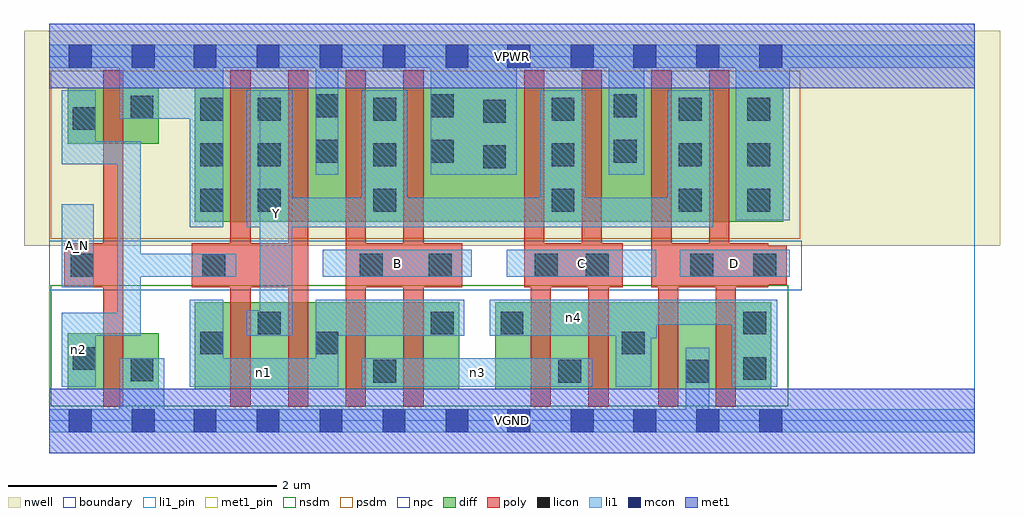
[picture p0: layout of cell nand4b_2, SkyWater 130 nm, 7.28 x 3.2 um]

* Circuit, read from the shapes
.subckt nand4b_2 A_N B C D VGND VPWR Y n1 n2 n3 n4
XM1 VGND A_N n2 VSUBS sky130_fd_pr__nfet_01v8 w=0.42 l=0.15
XM2 Y n2 n1 VSUBS sky130_fd_pr__nfet_01v8 w=0.65 l=0.15 m=2
XM3 n3 B n1 VSUBS sky130_fd_pr__nfet_01v8 w=0.65 l=0.15 m=2
XM4 n3 C n4 VSUBS sky130_fd_pr__nfet_01v8 w=0.65 l=0.15 m=2
XM5 VGND D n4 VSUBS sky130_fd_pr__nfet_01v8 w=0.65 l=0.15 m=2
XM6 VPWR A_N n2 n5 sky130_fd_pr__pfet_01v8 w=0.42 l=0.15
XM7 Y n2 VPWR n5 sky130_fd_pr__pfet_01v8 w=1 l=0.15 m=2
XM8 Y B VPWR n5 sky130_fd_pr__pfet_01v8 w=1 l=0.15 m=2
XM9 Y C VPWR n5 sky130_fd_pr__pfet_01v8 w=1 l=0.15 m=2
XM10 Y D VPWR n5 sky130_fd_pr__pfet_01v8 w=1 l=0.15 m=2
.ends

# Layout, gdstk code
import gdstk
lib = gdstk.Library(unit=1e-6, precision=1e-09)
def R(c, l, rs):  # rectangles x0, y0, x1, y1
    for r in rs: c.add(gdstk.rectangle(r[:2], r[2:], *l))
def A(c, l, x, y, w, h, nx, ny, dx, dy):  # array of equal rectangles
    R(c, l, [(x+i*dx, y+j*dy, x+i*dx+w, y+j*dy+h) for i in range(nx) for j in range(ny)])
nwell = (64, 20)
diff = (65, 20)
poly = (66, 20)
licon = (66, 44)
li1_pin = (67, 16)
li1 = (67, 20)
mcon = (67, 44)
met1_pin = (68, 16)
met1 = (68, 20)
nsdm = (93, 44)
psdm = (94, 20)
npc = (95, 20)
boundary = (235, 4)

nand4b_2 = lib.new_cell('nand4b_2')
R(nand4b_2, nwell, [(-0.19,1.305,7.09,2.91), (0,1.305,6.9,2.91)])
R(nand4b_2, diff, [(0.135,0.235,0.815,0.655), (1.085,0.235,3.055,0.885), (3.325,0.235,5.385,0.885), (1.085,1.485,5.475,2.485), (0.135,2.065,0.815,2.485)])
A(nand4b_2, poly, 1.35, 0.105, 0.15, 2.51, 4, 1, 0.43, 0)
R(nand4b_2, poly, [(0.4,0.105,0.55,2.615), (3.59,0.105,3.74,1.325), (4.02,0.105,4.17,1.325), (4.54,0.105,4.69,1.325), (4.97,0.105,5.12,1.325), (0.11,0.995,0.55,1.325), (1.06,0.995,1.93,1.325), (2.21,0.995,3.08,1.325), (3.54,0.995,3.69,2.615), (3.54,0.995,4.275,1.325), (3.97,0.995,4.12,2.615), (4.49,0.995,5.36,1.325), (4.49,0.995,4.64,2.615), (4.92,0.995,5.07,2.615), (4.49,1.015,5.5,1.305)])
A(nand4b_2, licon, 1.125, 1.56, 0.17, 0.17, 1, 3, 0, 0.34)
A(nand4b_2, licon, 1.555, 1.56, 0.17, 0.17, 1, 3, 0, 0.34)
A(nand4b_2, licon, 2.415, 1.56, 0.17, 0.17, 1, 3, 0, 0.34)
A(nand4b_2, licon, 3.745, 1.56, 0.17, 0.17, 1, 3, 0, 0.34)
A(nand4b_2, licon, 4.695, 1.56, 0.17, 0.17, 1, 3, 0, 0.34)
A(nand4b_2, licon, 5.205, 1.56, 0.17, 0.17, 1, 3, 0, 0.34)
R(nand4b_2, licon, [(2.415,0.285,2.585,0.455), (3.795,0.285,3.965,0.455), (4.745,0.285,4.915,0.455), (0.605,0.295,0.775,0.465), (5.175,0.305,5.345,0.475), (0.175,0.38,0.345,0.55), (1.125,0.495,1.295,0.665), (1.985,0.495,2.155,0.665), (4.27,0.495,4.44,0.665), (1.555,0.645,1.725,0.815), (2.845,0.645,3.015,0.815), (3.365,0.645,3.535,0.815), (5.175,0.645,5.345,0.815), (0.16,1.075,0.33,1.245), (1.14,1.075,1.31,1.245), (2.315,1.075,2.485,1.245), (2.83,1.075,3,1.245), (3.62,1.075,3.79,1.245), (4,1.075,4.17,1.245), (4.78,1.075,4.95,1.245), (5.25,1.075,5.42,1.245), (3.235,1.885,3.405,2.055), (1.985,1.925,2.155,2.095), (2.845,1.925,3.015,2.095), (4.21,1.925,4.38,2.095), (0.175,2.17,0.345,2.34), (3.235,2.225,3.405,2.395), (0.605,2.255,0.775,2.425), (1.985,2.265,2.155,2.435), (2.845,2.265,3.015,2.435), (4.21,2.265,4.38,2.435)])
R(nand4b_2, li1_pin, [(1.57,0.635,1.81,2.465), (0.09,0.995,0.33,1.615), (2.04,1.075,3.15,1.275), (3.41,1.075,4.525,1.275), (4.7,1.075,5.52,1.275)])
R(nand4b_2, li1, [(0,-0.085,6.9,0.085), (0.52,-0.085,0.855,0.465), (4.745,-0.085,4.92,0.545), (0.09,0.255,0.345,0.805), (1.045,0.255,2.155,0.465), (1.045,0.255,1.295,0.905), (1.985,0.255,2.155,0.905), (2.33,0.255,4.05,0.465), (4.225,0.255,4.49,0.905), (5.09,0.255,5.43,0.905), (4.225,0.615,4.53,0.905), (0.09,0.635,0.68,0.805), (0.505,0.635,0.68,2.085), (1.47,0.635,1.81,0.825), (1.57,0.635,1.81,2.465), (1.985,0.635,3.095,0.905), (3.285,0.635,4.53,0.905), (3.285,0.715,5.43,0.905), (0.09,0.995,0.33,1.615), (0.505,1.075,1.395,1.245), (2.04,1.075,3.15,1.275), (3.41,1.075,4.525,1.275), (4.7,1.075,5.52,1.275), (1.045,1.445,1.295,2.805), (1.47,1.445,4.95,1.665), (1.47,1.445,1.81,2.465), (2.33,1.445,2.67,2.465), (3.66,1.445,4,2.465), (4.61,1.445,4.95,2.465), (5.12,1.495,5.52,2.805), (1.985,1.835,2.155,2.805), (2.845,1.835,3.485,2.805), (4.17,1.835,4.435,2.805), (0.09,1.915,0.345,2.465), (0.09,1.915,0.68,2.085), (0.52,2.255,1.295,2.805), (0,2.635,6.9,2.805)])
A(nand4b_2, mcon, 1.075, -0.085, 0.17, 0.17, 5, 2, 0.47, 2.72)
A(nand4b_2, mcon, 4.355, -0.085, 0.17, 0.17, 3, 2, 0.47, 2.72)
R(nand4b_2, mcon, [(0.145,-0.085,0.315,0.085), (0.615,-0.085,0.785,0.085), (3.415,-0.085,3.585,0.085), (3.89,-0.085,4.06,0.085), (0.145,2.635,0.315,2.805), (0.615,2.635,0.785,2.805), (3.415,2.635,3.585,2.805), (3.89,2.635,4.06,2.805)])
R(nand4b_2, met1_pin, [(0,-0.24,6.9,0.24), (0,2.48,6.9,2.96)])
R(nand4b_2, met1, [(0,-0.24,6.9,0.24), (0,2.48,6.9,2.96)])
R(nand4b_2, nsdm, [(0.01,0.11,5.51,1.01)])
R(nand4b_2, psdm, [(0.01,1.36,5.6,2.61)])
R(nand4b_2, npc, [(0,0.975,5.61,1.345)])
R(nand4b_2, boundary, [(0,0,6.9,2.72)])
nand4b_2.add(gdstk.Label('A_N', (0.21,1.305), layer=67, texttype=5))
nand4b_2.add(gdstk.Label('B', (2.595,1.175), layer=67, texttype=5))
nand4b_2.add(gdstk.Label('C', (3.967,1.175), layer=67, texttype=5))
nand4b_2.add(gdstk.Label('D', (5.11,1.175), layer=67, texttype=5))
nand4b_2.add(gdstk.Label('Y', (1.69,1.55), layer=67, texttype=5))
nand4b_2.add(gdstk.Label('n3', (3.19,0.36), layer=67, texttype=5))
nand4b_2.add(gdstk.Label('n1', (1.6,0.36), layer=67, texttype=5))
nand4b_2.add(gdstk.Label('n4', (3.907,0.77), layer=67, texttype=5))
nand4b_2.add(gdstk.Label('n2', (0.217,0.53), layer=67, texttype=5))
nand4b_2.add(gdstk.Label('VPWR', (3.45,2.72), layer=68, texttype=5))
nand4b_2.add(gdstk.Label('VGND', (3.45,0), layer=68, texttype=5))
nand4b_2.add(gdstk.Label('A_N', (0.21,1.305), layer=67, texttype=16))
nand4b_2.add(gdstk.Label('B', (2.595,1.175), layer=67, texttype=16))
nand4b_2.add(gdstk.Label('C', (3.967,1.175), layer=67, texttype=16))
nand4b_2.add(gdstk.Label('D', (5.11,1.175), layer=67, texttype=16))
nand4b_2.add(gdstk.Label('Y', (1.69,1.55), layer=67, texttype=16))
nand4b_2.add(gdstk.Label('VPWR', (3.45,2.72), layer=68, texttype=16))
nand4b_2.add(gdstk.Label('VGND', (3.45,0), layer=68, texttype=16))

lib.write_gds('nand4b_2.gds')
